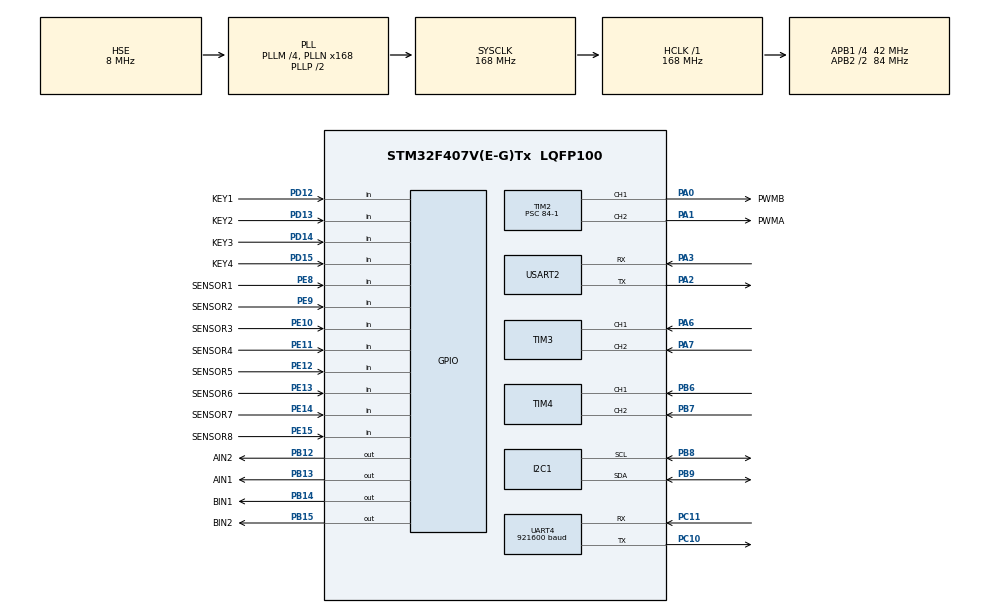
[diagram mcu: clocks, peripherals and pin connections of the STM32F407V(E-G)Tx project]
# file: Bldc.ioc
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FREERTOS.Tasks01=defaultTask,24,128,StartDefaultTask,Default,NULL,Dynamic,NULL,NULL
Mcu.Family=STM32F4
Mcu.Name=STM32F407V(E-G)Tx
Mcu.Package=LQFP100
NVIC.PriorityGroup=NVIC_PRIORITYGROUP_4
NVIC.TIM1_UP_TIM10_IRQn=true\:15\:0\:false\:false\:true\:false\:false\:true\:true
NVIC.TIM5_IRQn=true\:5\:0\:false\:false\:true\:true\:true\:true\:true
NVIC.TimeBase=TIM1_UP_TIM10_IRQn
NVIC.TimeBaseIP=TIM1
NVIC.UART4_IRQn=true\:5\:0\:false\:false\:true\:true\:true\:true\:true
NVIC.USART2_IRQn=true\:5\:0\:false\:false\:true\:true\:true\:true\:true
PA0-WKUP.GPIO_Label=PWMB
PA0-WKUP.Signal=S_TIM2_CH1_ETR
PA1.GPIO_Label=PWMA
PA1.Signal=S_TIM2_CH2
PA13.Mode=Serial_Wire
PA13.Signal=SYS_JTMS-SWDIO
PA14.Mode=Serial_Wire
PA14.Signal=SYS_JTCK-SWCLK
PA2.Mode=Asynchronous
PA2.Signal=USART2_TX
PA3.Mode=Asynchronous
PA3.Signal=USART2_RX
PA6.Signal=S_TIM3_CH1
PA7.Signal=S_TIM3_CH2
PB12.GPIO_Label=AIN2
PB12.Signal=GPIO_Output
PB13.GPIO_Label=AIN1
PB13.Signal=GPIO_Output
PB14.GPIO_Label=BIN1
PB14.Signal=GPIO_Output
PB15.GPIO_Label=BIN2
PB15.Signal=GPIO_Output
PB6.Signal=S_TIM4_CH1
PB7.Signal=S_TIM4_CH2
PB8.Mode=I2C
PB8.Signal=I2C1_SCL
PB9.Mode=I2C
PB9.Signal=I2C1_SDA
PC10.Mode=Asynchronous
PC10.Signal=UART4_TX
PC11.Mode=Asynchronous
PC11.Signal=UART4_RX
PD12.GPIO_Label=KEY1
PD12.GPIO_PuPd=GPIO_PULLUP
PD12.Signal=GPIO_Input
PD13.GPIO_Label=KEY2
PD13.GPIO_PuPd=GPIO_PULLUP
PD13.Signal=GPIO_Input
PD14.GPIO_Label=KEY3
PD14.GPIO_PuPd=GPIO_PULLUP
PD14.Signal=GPIO_Input
PD15.GPIO_Label=KEY4
PD15.GPIO_PuPd=GPIO_PULLUP
PD15.Signal=GPIO_Input
PE10.GPIO_Label=SENSOR3
PE10.Signal=GPIO_Input
PE11.GPIO_Label=SENSOR4
PE11.Signal=GPIO_Input
PE12.GPIO_Label=SENSOR5
PE12.Signal=GPIO_Input
PE13.GPIO_Label=SENSOR6
PE13.Signal=GPIO_Input
PE14.GPIO_Label=SENSOR7
PE14.Signal=GPIO_Input
PE15.GPIO_Label=SENSOR8
PE15.Signal=GPIO_Input
PE8.GPIO_Label=SENSOR1
PE8.Signal=GPIO_Input
PE9.GPIO_Label=SENSOR2
PE9.Signal=GPIO_Input
PH0-OSC_IN.Mode=HSE-External-Oscillator
PH0-OSC_IN.Signal=RCC_OSC_IN
PH1-OSC_OUT.Mode=HSE-External-Oscillator
PH1-OSC_OUT.Signal=RCC_OSC_OUT
ProjectManager.HeapSize=0x200
ProjectManager.StackSize=0x400
ProjectManager.TargetToolchain=MDK-ARM V5.32
RCC.48MHZClocksFreq_Value=84000000
RCC.AHBFreq_Value=168000000
RCC.APB1CLKDivider=RCC_HCLK_DIV4
RCC.APB1Freq_Value=42000000
RCC.APB1TimFreq_Value=84000000
RCC.APB2CLKDivider=RCC_HCLK_DIV2
RCC.APB2Freq_Value=84000000
RCC.APB2TimFreq_Value=168000000
RCC.CortexFreq_Value=168000000
RCC.HCLKFreq_Value=168000000
RCC.HSE_VALUE=8000000
RCC.HSI_VALUE=16000000
RCC.LSE_VALUE=32768
RCC.PLLM=4
RCC.PLLN=168
RCC.PLLSourceVirtual=RCC_PLLSOURCE_HSE
RCC.SYSCLKFreq_VALUE=168000000
RCC.SYSCLKSource=RCC_SYSCLKSOURCE_PLLCLK
RCC.VCOOutputFreq_Value=336000000
SH.S_TIM2_CH1_ETR.0=TIM2_CH1,PWM Generation1 CH1
SH.S_TIM2_CH2.0=TIM2_CH2,PWM Generation2 CH2
SH.S_TIM3_CH1.0=TIM3_CH1,Encoder_Interface
SH.S_TIM3_CH2.0=TIM3_CH2,Encoder_Interface
SH.S_TIM4_CH1.0=TIM4_CH1,Encoder_Interface
SH.S_TIM4_CH2.0=TIM4_CH2,Encoder_Interface
TIM2.Channel-PWM\ Generation1\ CH1=TIM_CHANNEL_1
TIM2.Channel-PWM\ Generation2\ CH2=TIM_CHANNEL_2
TIM2.Period=2000-1
TIM2.Prescaler=84-1
TIM3.EncoderMode=TIM_ENCODERMODE_TI12
TIM4.EncoderMode=TIM_ENCODERMODE_TI12
TIM5.Period=1000-1
TIM5.Prescaler=168-1
UART4.BaudRate=921600
UART4.VirtualMode=Asynchronous
USART2.VirtualMode=VM_ASYNC
VP_FREERTOS_VS_CMSIS_V2.Mode=CMSIS_V2
VP_SYS_VS_tim1.Mode=TIM1
VP_TIM2_VS_ClockSourceINT.Mode=Internal
VP_TIM5_VS_ClockSourceINT.Mode=Internal
board=custom

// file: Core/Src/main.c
/* USER CODE BEGIN Header */
/**
  ******************************************************************************
  * @file           : main.c
  * @brief          : Main program body
  ******************************************************************************
  * @attention
  *
  * Copyright (c) 2026 STMicroelectronics.
  * All rights reserved.
  *
  * This software is licensed under terms that can be found in the LICENSE file
  * in the root directory of this software component.
  * If no LICENSE file comes with this software, it is provided AS-IS.
  *
  ******************************************************************************
  */
/* USER CODE END Header */
#include "main.h"
#include "cmsis_os.h"
#include "i2c.h"
#include "tim.h"
#include "usart.h"
#include "gpio.h"

/* USER CODE BEGIN Includes */
#include "dz_cubemx.h"
  /* USER CODE END Includes */

void SystemClock_Config(void);
void MX_FREERTOS_Init(void);

int main(void)
{

  /* MCU Configuration--------------------------------------------------------*/

  /* Reset of all peripherals, Initializes the Flash interface and the Systick. */
  HAL_Init();

  /* Configure the system clock */
  SystemClock_Config();

  /* Initialize all configured peripherals */
  MX_GPIO_Init();
  MX_TIM2_Init();
  MX_TIM3_Init();
  MX_TIM4_Init();
  MX_I2C1_Init();
  MX_TIM5_Init();
  MX_UART4_Init();
  MX_USART2_UART_Init();
  /* USER CODE BEGIN 2 */
  dz_cubemx_start();
  /* USER CODE END 2 */

  /* Init scheduler */
  osKernelInitialize();  /* Call init function for freertos objects (in cmsis_os2.c) */
  MX_FREERTOS_Init();

  /* Start scheduler */
  osKernelStart();

  /* We should never get here as control is now taken by the scheduler */

  /* Infinite loop */
  while (1)
  {

  }
}

void SystemClock_Config(void)
{
  RCC_OscInitTypeDef RCC_OscInitStruct = {0};
  RCC_ClkInitTypeDef RCC_ClkInitStruct = {0};

  /** Configure the main internal regulator output voltage
  */
  __HAL_RCC_PWR_CLK_ENABLE();
  __HAL_PWR_VOLTAGESCALING_CONFIG(PWR_REGULATOR_VOLTAGE_SCALE1);

  /** Initializes the RCC Oscillators according to the specified parameters
  * in the RCC_OscInitTypeDef structure.
  */
  RCC_OscInitStruct.OscillatorType = RCC_OSCILLATORTYPE_HSE;
  RCC_OscInitStruct.HSEState = RCC_HSE_ON;
  RCC_OscInitStruct.PLL.PLLState = RCC_PLL_ON;
  RCC_OscInitStruct.PLL.PLLSource = RCC_PLLSOURCE_HSE;
  RCC_OscInitStruct.PLL.PLLM = 4;
  RCC_OscInitStruct.PLL.PLLN = 168;
  RCC_OscInitStruct.PLL.PLLP = RCC_PLLP_DIV2;
  RCC_OscInitStruct.PLL.PLLQ = 4;
  if (HAL_RCC_OscConfig(&RCC_OscInitStruct) != HAL_OK)
  {
    Error_Handler();
  }

  /** Initializes the CPU, AHB and APB buses clocks
  */
  RCC_ClkInitStruct.ClockType = RCC_CLOCKTYPE_HCLK|RCC_CLOCKTYPE_SYSCLK
                              |RCC_CLOCKTYPE_PCLK1|RCC_CLOCKTYPE_PCLK2;
  RCC_ClkInitStruct.SYSCLKSource = RCC_SYSCLKSOURCE_PLLCLK;
  RCC_ClkInitStruct.AHBCLKDivider = RCC_SYSCLK_DIV1;
  RCC_ClkInitStruct.APB1CLKDivider = RCC_HCLK_DIV4;
  RCC_ClkInitStruct.APB2CLKDivider = RCC_HCLK_DIV2;

  if (HAL_RCC_ClockConfig(&RCC_ClkInitStruct, FLASH_LATENCY_5) != HAL_OK)
  {
    Error_Handler();
  }
}

void HAL_TIM_PeriodElapsedCallback(TIM_HandleTypeDef *htim)
{
  if (htim->Instance == TIM1)
  {
    HAL_IncTick();
  }
  /* USER CODE BEGIN Callback 1 */
  dz_cubemx_tim_callback(htim);
  /* USER CODE END Callback 1 */
}

void Error_Handler(void)
{
  __disable_irq();
  while (1)
  {
  }
}

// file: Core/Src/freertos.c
/* USER CODE BEGIN Header */
/**
  ******************************************************************************
  * File Name          : freertos.c
  * Description        : Code for freertos applications
  ******************************************************************************
  * @attention
  *
  * Copyright (c) 2025 STMicroelectronics.
  * All rights reserved.
  *
  * This software is licensed under terms that can be found in the LICENSE file
  * in the root directory of this software component.
  * If no LICENSE file comes with this software, it is provided AS-IS.
  *
  ******************************************************************************
  */
/* USER CODE END Header */

#include "FreeRTOS.h"
#include "task.h"
#include "main.h"
#include "cmsis_os.h"

/* USER CODE BEGIN Includes */
#include "dz_cubemx.h"
  /* USER CODE END Includes */

/* Definitions for defaultTask */
osThreadId_t defaultTaskHandle;
const osThreadAttr_t defaultTask_attributes = {
  .name = "defaultTask",
  .stack_size = 128 * 4,
  .priority = (osPriority_t) osPriorityNormal,
};

void StartDefaultTask(void *argument);

void MX_FREERTOS_Init(void); /* (MISRA C 2004 rule 8.1) */

void MX_FREERTOS_Init(void) {

  /* Create the thread(s) */
  /* creation of defaultTask */
  defaultTaskHandle = osThreadNew(StartDefaultTask, NULL, &defaultTask_attributes);

}

/* USER CODE BEGIN Header_StartDefaultTask */

/* 创建USER_TASK任务相关参数 */
#define      USER_TASK_PRIO          26
#define      USER_TASK_STACK_SIZE    512
TaskHandle_t USER_TASK_handler;
void         USER_TASK( void * pvParameters );

/* ������ˢ���С�����������ز��� */
#define      BLDC_TASK_PRIO          38
#define      BLDC_TASK_STACK_SIZE    512
TaskHandle_t BLDC_TASK_handler;
void         BLDC_TASK( void * pvParameters );
/* 创建KEY_TASK任务相关参数 */
#define      KEY_TASK_PRIO          36
#define      KEY_TASK_STACK_SIZE    256
TaskHandle_t KEY_TASK_handler;
void         KEY_TASK( void * pvParameters );

/* 创建 OLED 显示任务 */
#define      OLED_Task_Name          "OLED_Task"
#define      OLED_Task_STACK_SIZE    512
#define      OLED_Task_PRIORITY      25
TaskHandle_t OLED_Task_Handle;
void         OLED_Task( void * pvParameters );

/* USER CODE END Header_StartDefaultTask */
void StartDefaultTask(void *argument)
{
  /* USER CODE BEGIN StartDefaultTask */
  for (;;)
  {
    dz_cubemx_loop();
    osDelay(1);
  }
  /* USER CODE END StartDefaultTask */
}
